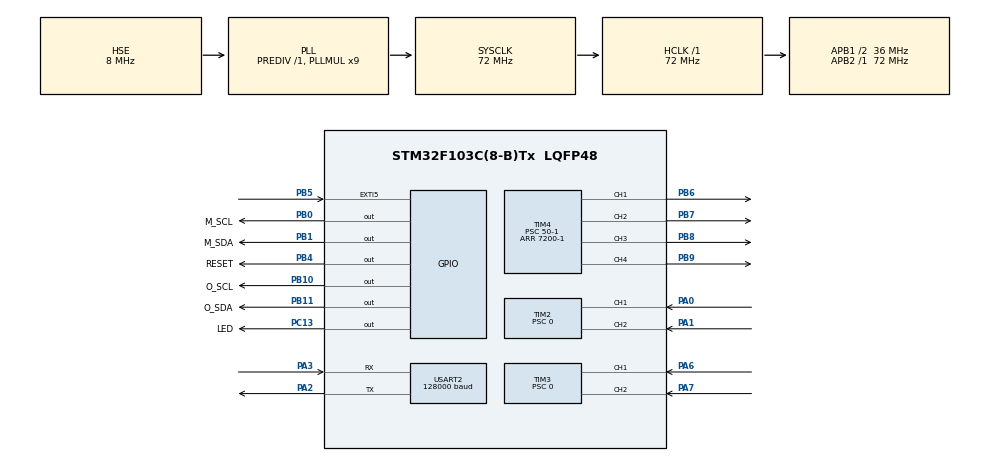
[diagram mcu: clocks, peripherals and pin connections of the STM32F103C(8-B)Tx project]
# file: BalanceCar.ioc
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Mcu.Family=STM32F1
Mcu.Name=STM32F103C(8-B)Tx
Mcu.Package=LQFP48
NVIC.PriorityGroup=NVIC_PRIORITYGROUP_4
PA0-WKUP.Signal=S_TIM2_CH1_ETR
PA1.Signal=S_TIM2_CH2
PA10.Signal=USART1_RX
PA13.Mode=Serial_Wire
PA13.Signal=SYS_JTMS-SWDIO
PA14.Mode=Serial_Wire
PA14.Signal=SYS_JTCK-SWCLK
PA2.Mode=Asynchronous
PA2.Signal=USART2_TX
PA3.Mode=Asynchronous
PA3.Signal=USART2_RX
PA6.Signal=S_TIM3_CH1
PA7.Signal=S_TIM3_CH2
PA9.Signal=USART1_TX
PB0.GPIO_Label=M_SCL
PB0.Signal=GPIO_Output
PB1.GPIO_Label=M_SDA
PB1.Signal=GPIO_Output
PB10.GPIO_Label=O_SCL
PB10.Signal=GPIO_Output
PB11.GPIO_Label=O_SDA
PB11.Signal=GPIO_Output
PB4.GPIO_Label=RESET
PB4.Signal=GPIO_Output
PB5.Signal=GPXTI5
PB6.Signal=S_TIM4_CH1
PB7.Signal=S_TIM4_CH2
PB8.Signal=S_TIM4_CH3
PB9.Signal=S_TIM4_CH4
PC13-TAMPER-RTC.GPIO_Label=LED
PC13-TAMPER-RTC.PinState=GPIO_PIN_SET
PC13-TAMPER-RTC.Signal=GPIO_Output
PD0-OSC_IN.Mode=HSE-External-Oscillator
PD0-OSC_IN.Signal=RCC_OSC_IN
PD1-OSC_OUT.Mode=HSE-External-Oscillator
PD1-OSC_OUT.Signal=RCC_OSC_OUT
ProjectManager.HeapSize=0x200
ProjectManager.StackSize=0x400
ProjectManager.TargetToolchain=SW4STM32
RCC.AHBFreq_Value=72000000
RCC.APB1CLKDivider=RCC_HCLK_DIV2
RCC.APB1Freq_Value=36000000
RCC.APB1TimFreq_Value=72000000
RCC.APB2Freq_Value=72000000
RCC.APB2TimFreq_Value=72000000
RCC.HCLKFreq_Value=72000000
RCC.PLLMUL=RCC_PLL_MUL9
RCC.PLLSourceVirtual=RCC_PLLSOURCE_HSE
RCC.SYSCLKFreq_VALUE=72000000
RCC.SYSCLKSource=RCC_SYSCLKSOURCE_PLLCLK
RCC.USBFreq_Value=72000000
SH.S_TIM2_CH1_ETR.0=TIM2_CH1,Encoder_Interface
SH.S_TIM2_CH2.0=TIM2_CH2,Encoder_Interface
SH.S_TIM3_CH1.0=TIM3_CH1,Encoder_Interface
SH.S_TIM3_CH2.0=TIM3_CH2,Encoder_Interface
SH.S_TIM4_CH1.0=TIM4_CH1,PWM Generation1 CH1
SH.S_TIM4_CH2.0=TIM4_CH2,PWM Generation2 CH2
SH.S_TIM4_CH3.0=TIM4_CH3,PWM Generation3 CH3
SH.S_TIM4_CH4.0=TIM4_CH4,PWM Generation4 CH4
TIM2.AutoReloadPreload=TIM_AUTORELOAD_PRELOAD_ENABLE
TIM2.EncoderMode=TIM_ENCODERMODE_TI12
TIM2.IC1Filter=15
TIM2.IC2Filter=15
TIM2.Prescaler=0
TIM3.AutoReloadPreload=TIM_AUTORELOAD_PRELOAD_ENABLE
TIM3.EncoderMode=TIM_ENCODERMODE_TI12
TIM3.IC1Filter=15
TIM3.IC2Filter=15
TIM3.Prescaler=0
TIM4.AutoReloadPreload=TIM_AUTORELOAD_PRELOAD_ENABLE
TIM4.Channel-PWM\ Generation1\ CH1=TIM_CHANNEL_1
TIM4.Channel-PWM\ Generation2\ CH2=TIM_CHANNEL_2
TIM4.Channel-PWM\ Generation3\ CH3=TIM_CHANNEL_3
TIM4.Channel-PWM\ Generation4\ CH4=TIM_CHANNEL_4
TIM4.Period=7200-1
TIM4.Prescaler=50-1
USART2.BaudRate=128000
USART2.VirtualMode=VM_ASYNC
board=custom

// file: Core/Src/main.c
/* USER CODE BEGIN Header */
/**
  ******************************************************************************
  * @file           : main.c
  * @brief          : Main program body
  ******************************************************************************
  * @attention
  *
  * <h2><center>&copy; Copyright (c) 2022 STMicroelectronics.
  * All rights reserved.</center></h2>
  *
  * This software component is licensed by ST under BSD 3-Clause license,
  * the "License"; You may not use this file except in compliance with the
  * License. You may obtain a copy of the License at:
  *                        opensource.org/licenses/BSD-3-Clause
  *
  ******************************************************************************
  */
/* USER CODE END Header */
#include "main.h"
#include "tim.h"
#include "usart.h"
#include "gpio.h"

/* USER CODE BEGIN Includes */
#include "motor.h"                       //电机驱动
#include "oled.h"                        //OLED驱动
#include "encoder.h"                     //编码器
#include <stdio.h>                       //数据处理
#include "pid.h"                         //PID算法
#include "retarget.h"                    //重定向printf
#include "control.h"                     //控制算法
#include "DataScope_DP.h"                //上位机
#include "mpu6050.h"                     //陀螺仪MPU6050
#include "delay.h"                       //延时函数
#include "inv_mpu.h"                     //MPU的DMP读取
#include "inv_mpu_dmp_motion_driver.h"   //MPD的DMP读取
/* USER CODE END Includes */

void SystemClock_Config(void);

int main(void)
{
  /* USER CODE BEGIN 1 */
    float pitch; 		//欧拉角   平衡车的调试使用到pitch：平衡的情况=0，前倾＜0，后倾＞0
    short gyro;         //陀螺仪   平衡车的调试使用到gyro[1]：平衡的情况=0，前倾＜0，后倾＞0
    float mid=-0.2;
    unsigned char Send_Count;   //波形上位机显示
  /* USER CODE END 1 */

  /* MCU Configuration--------------------------------------------------------*/

  /* Reset of all peripherals, Initializes the Flash interface and the Systick. */
  HAL_Init();

  /* USER CODE BEGIN Init */
    RetargetInit(&huart2);      //串口打印重定向printf
    delay_init(72);      //初始化延时函数
    OLED_init();                //初始化OLED
    OLED_clear();               //清屏OLED
  /* USER CODE END Init */

  /* Configure the system clock */
  SystemClock_Config();

  /* Initialize all configured peripherals */
  MX_GPIO_Init();
  MX_TIM2_Init();
  MX_TIM3_Init();
  MX_TIM4_Init();
  MX_USART2_UART_Init();
  /* USER CODE BEGIN 2 */
    HAL_TIM_PWM_Start(&htim4,TIM_CHANNEL_1);        //开启PWM
    HAL_TIM_PWM_Start(&htim4,TIM_CHANNEL_2);
    HAL_TIM_PWM_Start(&htim4,TIM_CHANNEL_3);
    HAL_TIM_PWM_Start(&htim4,TIM_CHANNEL_4);
    HAL_TIM_Encoder_Start(&htim2,TIM_CHANNEL_1);    //使能编码器
    HAL_TIM_Encoder_Start(&htim2,TIM_CHANNEL_2);
    HAL_TIM_Encoder_Start(&htim3,TIM_CHANNEL_1);
    HAL_TIM_Encoder_Start(&htim3,TIM_CHANNEL_2);
    LED=0;
    while(MPU_Init())                               //初始化MPU
    {
        OLED_ShowStr(0,0,"MPU:ERROR",2);
        HAL_Delay(100);
        OLED_ShowStr(0,0,"         ",2);
        HAL_Delay(100);
    }
    OLED_ShowStr(0,0,"MPU:OK   ",2);
    while(mpu_dmp_init())                           //初始化DMP
    {
        OLED_ShowStr(0,2,"DMP:ERROR",2);
        HAL_Delay(100);
        OLED_ShowStr(0,2,"         ",2);
        HAL_Delay(100);
    }
    OLED_ShowStr(0,2,"DMP:OK   ",2);
    while (mpu_dmp_get_pitch(&pitch,&gyro));    //取初始化时的pitch参数
    OLED_ShowFloat(0,5,mid,4);

  /* USER CODE END 2 */

  /* Infinite loop */
  while (1)
  {

    /* USER CODE BEGIN 3 */

        BalancePIDCtrl(mid);  //取初始化时的pitch作为平衡控制的中值
        HAL_Delay(5);
        LED=!LED;
  }
  /* USER CODE END 3 */
}

void SystemClock_Config(void)
{
  RCC_OscInitTypeDef RCC_OscInitStruct = {0};
  RCC_ClkInitTypeDef RCC_ClkInitStruct = {0};

  /** Initializes the RCC Oscillators according to the specified parameters
  * in the RCC_OscInitTypeDef structure.
  */
  RCC_OscInitStruct.OscillatorType = RCC_OSCILLATORTYPE_HSE;
  RCC_OscInitStruct.HSEState = RCC_HSE_ON;
  RCC_OscInitStruct.HSEPredivValue = RCC_HSE_PREDIV_DIV1;
  RCC_OscInitStruct.HSIState = RCC_HSI_ON;
  RCC_OscInitStruct.PLL.PLLState = RCC_PLL_ON;
  RCC_OscInitStruct.PLL.PLLSource = RCC_PLLSOURCE_HSE;
  RCC_OscInitStruct.PLL.PLLMUL = RCC_PLL_MUL9;
  if (HAL_RCC_OscConfig(&RCC_OscInitStruct) != HAL_OK)
  {
    Error_Handler();
  }
  /** Initializes the CPU, AHB and APB buses clocks
  */
  RCC_ClkInitStruct.ClockType = RCC_CLOCKTYPE_HCLK|RCC_CLOCKTYPE_SYSCLK
                              |RCC_CLOCKTYPE_PCLK1|RCC_CLOCKTYPE_PCLK2;
  RCC_ClkInitStruct.SYSCLKSource = RCC_SYSCLKSOURCE_PLLCLK;
  RCC_ClkInitStruct.AHBCLKDivider = RCC_SYSCLK_DIV1;
  RCC_ClkInitStruct.APB1CLKDivider = RCC_HCLK_DIV2;
  RCC_ClkInitStruct.APB2CLKDivider = RCC_HCLK_DIV1;

  if (HAL_RCC_ClockConfig(&RCC_ClkInitStruct, FLASH_LATENCY_2) != HAL_OK)
  {
    Error_Handler();
  }
}

void Error_Handler(void)
{
  __disable_irq();
  while (1)
  {
  }
}

/************************ (C) COPYRIGHT STMicroelectronics *****END OF FILE****/
